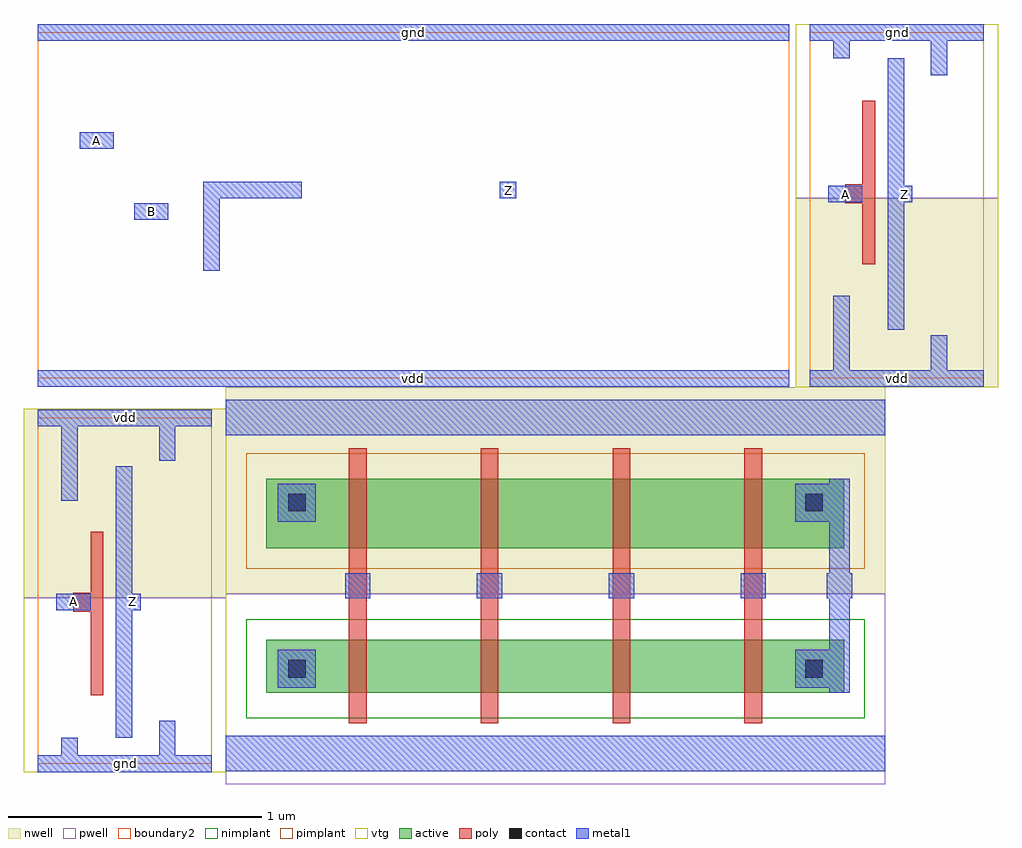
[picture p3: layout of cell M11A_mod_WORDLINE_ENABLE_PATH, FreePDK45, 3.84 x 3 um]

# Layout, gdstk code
import gdstk
lib = gdstk.Library(unit=1e-6, precision=1e-09)
def R(c, l, rs):  # rectangles x0, y0, x1, y1
    for r in rs: c.add(gdstk.rectangle(r[:2], r[2:], *l))
def A(c, l, x, y, w, h, nx, ny, dx, dy):  # array of equal rectangles
    R(c, l, [(x+i*dx, y+j*dy, x+i*dx+w, y+j*dy+h) for i in range(nx) for j in range(ny)])
active = (1, 0)
pwell = (2, 0)
nwell = (3, 0)
nimplant = (4, 0)
pimplant = (5, 0)
vtg = (6, 0)
poly = (9, 0)
contact = (10, 0)
metal1 = (11, 0)
boundary2 = (239, 0)

m11a_mod_wordline_enable = lib.new_cell('M11A_mod_WORDLINE_ENABLE_PATH')
R(m11a_mod_wordline_enable, active, [(0.982,0.36,3.262,0.57), (0.982,0.93,3.262,1.205)])
R(m11a_mod_wordline_enable, pwell, [(0.822,0,3.422,0.75), (0.025,0.047,0.823,0.735), (3.07,2.31,3.868,2.998)])
R(m11a_mod_wordline_enable, nwell, [(0.025,0.735,0.823,1.48), (0.822,0.75,3.422,1.565), (3.07,1.565,3.868,2.31)])
R(m11a_mod_wordline_enable, nimplant, [(0.902,0.26,3.342,0.65)])
R(m11a_mod_wordline_enable, pimplant, [(0.902,0.85,3.342,1.305)])
R(m11a_mod_wordline_enable, vtg, [(0.025,0.047,0.823,0.735), (0.025,0.735,0.823,1.48), (3.07,1.565,3.868,2.31), (3.07,2.31,3.868,2.998)])
A(m11a_mod_wordline_enable, poly, 1.307, 0.24, 0.07, 1.085, 4, 1, 0.52, 0)
R(m11a_mod_wordline_enable, poly, [(0.288,0.35,0.338,0.995), (0.22,0.68,0.288,0.755), (3.333,2.05,3.383,2.695), (3.265,2.29,3.333,2.365)])
R(m11a_mod_wordline_enable, contact, [(1.067,0.42,1.137,0.49), (3.107,0.42,3.177,0.49), (1.067,1.075,1.137,1.145), (3.107,1.075,3.177,1.145)])
A(m11a_mod_wordline_enable, metal1, 1.292, 0.733, 0.1, 0.099, 4, 1, 0.52, 0)
R(m11a_mod_wordline_enable, metal1, [(0.08,0.047,0.767,0.113), (0.172,0.047,0.237,0.183), (0.822,0.05,3.422,0.19), (2.072,0.07,2.172,0.17), (0.558,0.08,0.622,0.25), (0.387,0.183,0.452,1.253), (3.202,0.36,3.282,1.205), (1.027,0.38,1.177,0.53), (3.067,0.38,3.217,0.53), (0.152,0.685,0.288,0.75), (0.42,0.685,0.485,0.75), (3.192,0.733,3.292,0.832), (1.027,1.035,1.177,1.185), (3.067,1.035,3.217,1.185), (0.172,1.118,0.237,1.477), (0.558,1.275,0.622,1.445), (0.822,1.375,3.422,1.515), (2.072,1.395,2.172,1.495), (0.08,1.412,0.767,1.477), (0.08,1.568,3.045,1.633), (3.125,1.568,3.812,1.633), (3.217,1.568,3.282,1.927), (3.603,1.6,3.667,1.77), (3.432,1.792,3.497,2.862), (0.732,2.025,0.798,2.342), (0.46,2.225,0.595,2.29), (3.197,2.295,3.333,2.36), (3.465,2.295,3.53,2.36), (0.732,2.31,0.798,2.375), (0.765,2.31,1.122,2.375), (1.902,2.31,1.967,2.375), (0.245,2.505,0.38,2.57), (3.603,2.795,3.667,2.965), (3.217,2.862,3.282,2.998), (0.08,2.932,3.045,2.998), (3.125,2.932,3.812,2.998)])
R(m11a_mod_wordline_enable, boundary2, [(0.08,0.08,0.767,1.445), (0.08,0.08,0.767,1.445), (0.08,1.6,3.045,2.965), (3.125,1.6,3.812,2.965), (3.125,1.6,3.812,2.965)])
m11a_mod_wordline_enable.add(gdstk.Label('A', (0.22,0.718), layer=11, texttype=0))
m11a_mod_wordline_enable.add(gdstk.Label('Z', (0.452,0.718), layer=11, texttype=0))
m11a_mod_wordline_enable.add(gdstk.Label('gnd', (0.425,0.08), layer=11, texttype=0))
m11a_mod_wordline_enable.add(gdstk.Label('vdd', (0.425,1.445), layer=11, texttype=0))
m11a_mod_wordline_enable.add(gdstk.Label('A', (3.265,2.327), layer=11, texttype=0))
m11a_mod_wordline_enable.add(gdstk.Label('Z', (3.497,2.327), layer=11, texttype=0))
m11a_mod_wordline_enable.add(gdstk.Label('gnd', (3.47,2.965), layer=11, texttype=0))
m11a_mod_wordline_enable.add(gdstk.Label('vdd', (3.47,1.6), layer=11, texttype=0))
m11a_mod_wordline_enable.add(gdstk.Label('Z', (1.935,2.342), layer=11, texttype=0))
m11a_mod_wordline_enable.add(gdstk.Label('A', (0.312,2.538), layer=11, texttype=0))
m11a_mod_wordline_enable.add(gdstk.Label('B', (0.527,2.258), layer=11, texttype=0))
m11a_mod_wordline_enable.add(gdstk.Label('gnd', (1.562,2.965), layer=11, texttype=0))
m11a_mod_wordline_enable.add(gdstk.Label('vdd', (1.562,1.6), layer=11, texttype=0))

lib.write_gds('M11A_mod_WORDLINE_ENABLE_PATH.gds')
